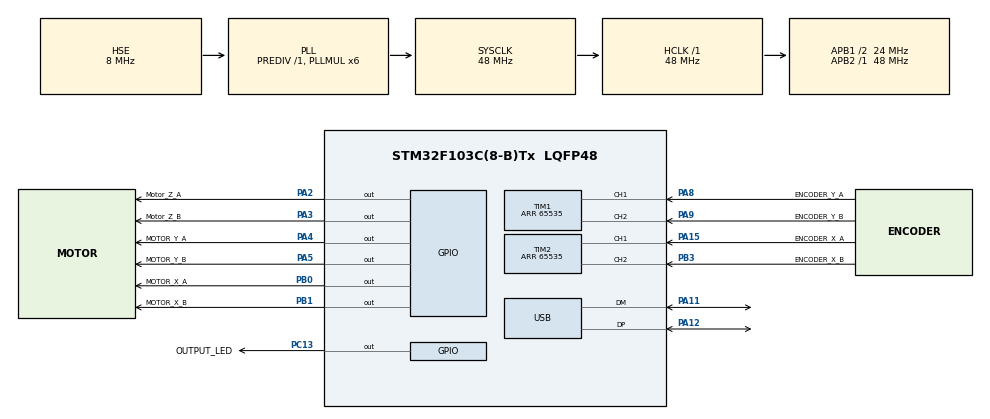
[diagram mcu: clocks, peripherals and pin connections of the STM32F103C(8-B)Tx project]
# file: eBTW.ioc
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Mcu.Family=STM32F1
Mcu.Name=STM32F103C(8-B)Tx
Mcu.Package=LQFP48
NVIC.PriorityGroup=NVIC_PRIORITYGROUP_4
NVIC.USB_LP_CAN1_RX0_IRQn=true\:0\:0\:false\:false\:true\:false\:true
PA11.Mode=Device
PA11.Signal=USB_DM
PA12.Mode=Device
PA12.Signal=USB_DP
PA13.Mode=Serial_Wire
PA13.Signal=SYS_JTMS-SWDIO
PA14.Mode=Serial_Wire
PA14.Signal=SYS_JTCK-SWCLK
PA15.GPIO_Label=ENCODER_X_A
PA15.Signal=S_TIM2_CH1_ETR
PA2.GPIO_Label=Motor_Z_A
PA2.Signal=GPIO_Output
PA3.GPIO_Label=Motor_Z_B
PA3.Signal=GPIO_Output
PA4.GPIO_Label=MOTOR_Y_A
PA4.Signal=GPIO_Output
PA5.GPIO_Label=MOTOR_Y_B
PA5.Signal=GPIO_Output
PA8.GPIO_Label=ENCODER_Y_A
PA8.Signal=S_TIM1_CH1
PA9.GPIO_Label=ENCODER_Y_B
PA9.Signal=S_TIM1_CH2
PB0.GPIO_Label=MOTOR_X_A
PB0.Signal=GPIO_Output
PB1.GPIO_Label=MOTOR_X_B
PB1.Signal=GPIO_Output
PB3.GPIO_Label=ENCODER_X_B
PB3.Signal=S_TIM2_CH2
PC13-TAMPER-RTC.GPIO_Label=OUTPUT_LED
PC13-TAMPER-RTC.Signal=GPIO_Output
PD0-OSC_IN.Mode=HSE-External-Oscillator
PD0-OSC_IN.Signal=RCC_OSC_IN
PD1-OSC_OUT.Mode=HSE-External-Oscillator
PD1-OSC_OUT.Signal=RCC_OSC_OUT
ProjectManager.HeapSize=0x200
ProjectManager.StackSize=0x400
ProjectManager.TargetToolchain=STM32CubeIDE
RCC.AHBFreq_Value=48000000
RCC.APB1CLKDivider=RCC_HCLK_DIV2
RCC.APB1Freq_Value=24000000
RCC.APB1TimFreq_Value=48000000
RCC.APB2Freq_Value=48000000
RCC.APB2TimFreq_Value=48000000
RCC.HCLKFreq_Value=48000000
RCC.PLLMUL=RCC_PLL_MUL6
RCC.SYSCLKFreq_VALUE=48000000
RCC.SYSCLKSource=RCC_SYSCLKSOURCE_PLLCLK
RCC.USBFreq_Value=48000000
SH.S_TIM1_CH1.0=TIM1_CH1,Encoder_Interface
SH.S_TIM1_CH2.0=TIM1_CH2,Encoder_Interface
SH.S_TIM2_CH1_ETR.0=TIM2_CH1,Encoder_Interface
SH.S_TIM2_CH2.0=TIM2_CH2,Encoder_Interface
TIM1.Period=65535
TIM2.Period=65535
USB_DEVICE.CLASS_NAME_FS=CDC
USB_DEVICE.VirtualMode=Cdc
USB_DEVICE.VirtualModeFS=Cdc_FS
VP_USB_DEVICE_VS_USB_DEVICE_CDC_FS.Mode=CDC_FS
board=custom

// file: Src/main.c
/* USER CODE BEGIN Header */
/**
  ******************************************************************************
  * @file           : main.c
  * @brief          : Main program body
  ******************************************************************************
  * @attention
  *
  * <h2><center>&copy; Copyright (c) 2019 STMicroelectronics.
  * All rights reserved.</center></h2>
  *
  * This software component is licensed by ST under BSD 3-Clause license,
  * the "License"; You may not use this file except in compliance with the
  * License. You may obtain a copy of the License at:
  *                        opensource.org/licenses/BSD-3-Clause
  *
  ******************************************************************************
  */
/* USER CODE END Header */

#include "main.h"
#include "tim.h"
#include "usb_device.h"
#include "gpio.h"

/* USER CODE BEGIN Includes */
#include "brailleMatrix.h"
#include "DCMotors.h"
#include "stm32f1xx_it.h"
/* USER CODE END Includes */

/* USER CODE BEGIN PV */
#define MAX_CARACTERES 30
#define MAX_LINHAS 27
#define POS_INI 28000
#define POS_FIM 4000

char pressedEnter = 1;
char isEnd = 0;

MotorControl_t motorX;
MotorControl_t motorY;

MotorControl_Simple_t motorZ;

unsigned char buffer_char[MAX_CARACTERES];
unsigned char buffer_braille[4];
/* USER CODE END PV */

void SystemClock_Config(void);

int main(void)
{

  /* MCU Configuration--------------------------------------------------------*/

  /* Reset of all peripherals, Initializes the Flash interface and the Systick. */
  HAL_Init();

  /* Configure the system clock */
  SystemClock_Config();

  /* Initialize all configured peripherals */
  MX_GPIO_Init();
  MX_TIM2_Init();
  MX_TIM1_Init();
  MX_USB_DEVICE_Init();
  /* USER CODE BEGIN 2 */
  HAL_TIM_Encoder_Start(&htim1, TIM_CHANNEL_ALL);
  HAL_TIM_Encoder_Start(&htim2, TIM_CHANNEL_ALL);

  motorBegin(&motorX, &htim2, MOTOR_X_A_GPIO_Port, MOTOR_X_A_Pin, MOTOR_X_B_GPIO_Port, MOTOR_X_B_Pin);
  motorBegin(&motorY, &htim1, MOTOR_Y_A_GPIO_Port, MOTOR_Y_A_Pin, MOTOR_Y_B_GPIO_Port, MOTOR_Y_B_Pin);

  motorSimpleBegin(&motorZ, Motor_Z_A_GPIO_Port, Motor_Z_A_Pin, Motor_Z_B_GPIO_Port, Motor_Z_B_Pin);
  /* USER CODE END 2 */

  /* Infinite loop */
  while (1)
  {

    /* USER CODE BEGIN 3 */
	  //Faz a leitura do teclado e envia ao buffer_char
	  		while(1){
	  			if(keyboardAvailable(&keyboard)){
	  				HAL_GPIO_WritePin(OUTPUT_LED_GPIO_Port, OUTPUT_LED_Pin, GPIO_PIN_SET);
	  				HAL_Delay(100);
	  				HAL_GPIO_WritePin(OUTPUT_LED_GPIO_Port, OUTPUT_LED_Pin, GPIO_PIN_RESET);
	  				uint8_t c = keyboardRead(&keyboard);
	  				if(c == PS2_ENTER){
	  					pressedEnter = 1;
	  					HAL_GPIO_WritePin(OUTPUT_LED_GPIO_Port, OUTPUT_LED_Pin, GPIO_PIN_SET);
	  					break;
	  				}else if(c == PS2_DOWNARROW){
	  					updateAxis(&motorY, motorY.setPoint - 17);
	  				}else if(c == PS2_UPARROW){
	  					updateAxis(&motorY, motorY.setPoint + 17);
	  				}else if(c == PS2_LEFTARROW){
	  					updateAxis(&motorX, motorX.setPoint + 17);
	  				}else if(c == PS2_RIGHTARROW){
	  					updateAxis(&motorX, motorX.setPoint - 17);
	  				}else if(c == PS2_BACKSPACE){
	  					clearBuffer(buffer_char);
	  				}else{

	  					feedBuffer(buffer_char, MAX_CARACTERES, c);
	  				}
	  				keyboardClear(&keyboard);
	  			}
	  		}
	  		//Programa leitura do teclado
	  		if(pressedEnter){
	  			//reverse(buffer_char);
	  			uint32_t length = strlen((const char*)buffer_char);

	  			for(int j=0;j<3;j++){

	  				//Imprime as linhas em braille
	  				if(j==1){
	  					//Linhas das matrizes
	  					for(int8_t i=length-1; i>=0; --i){

	  						// Recebe os pontos da linha para o caractere atual
	  						fillLineWithBraille(buffer_braille, j,buffer_char[i]);

	  						// Percorre os 4 bits, no máximo, para cada caractere
	  						for(int8_t x = 0; x < 2; ++x){

	  							// Passa para a próxima iteração se não tem ponto para furar
	  							if(buffer_braille[x] == '1'){
	  								pierce(&motorZ, PIERCE_TIME);
	  							}

	  							if(x != 1){
	  								updateAxis(&motorX, motorX.setPoint - DELTA_COL_LIN);
	  							}

	  							// Incrementa posição do eixo x, espaçamento entre colunas

	  						}

	  						// Incrementa posição do eixo x, espaçamento entre char na horizontal
	  						if(i != 0){
	  							updateAxis(&motorX, motorX.setPoint - DELTA_CHAR_H);
	  						}

	  					}

	  					// Decrementa posição do eixo y, espaçamento entre linhas
	  					updateAxis(&motorY, motorY.setPoint - DELTA_COL_LIN);
	  					//updateAxis_Simple(&motorY, NEXT_LINE, UP);
	  				}else{

	  					//Linhas das matrizes
	  					for(int8_t i=0; i<length; i++){

	  						//Recebe os pontos da linha para o caractere atual
	  						fillLineWithBraille(buffer_braille, j,buffer_char[i]);

	  						//Percorre os 4 bits, no máximo, para cada caractere
	  						for(int8_t x = 1; x >= 0; --x){

	  							if(buffer_braille[x] == '1'){
	  								pierce(&motorZ, PIERCE_TIME);
	  							}

	  							// Incrementa posição do eixo x, espaçamento entre colunas
	  							if(x != 0){
	  								updateAxis(&motorX, motorX.setPoint + DELTA_COL_LIN);
	  							}

	  						}

	  						// Incrementa posição do eixo x, espaçamento entre char na horizontal
	  						if(i != (length -1)){
	  							updateAxis(&motorX, motorX.setPoint + DELTA_CHAR_H);
	  						}

	  					}

	  					// Incrementa posição do eixo y, espaçamento entre linhas
	  					updateAxis(&motorY, motorY.setPoint + DELTA_COL_LIN);
	  					//updateAxis_Simple(&motorY, NEXT_LINE, UP);
	  				}
	  			}

	  			//Incrementa posição do eixo y, espaçamento entre char na vertical
	  			updateAxis(&motorY, motorY.setPoint + DELTA_CHAR_V - DELTA_COL_LIN);
	  			//updateAxis_Simple(&motorY, NEXT_CHAR, UP);
	  			// Seta posição eixo x para inicial
	  			updateAxis(&motorX, POS_INI);

	  			pressedEnter = 0;
	  		}
	  		HAL_GPIO_WritePin(OUTPUT_LED_GPIO_Port, OUTPUT_LED_Pin, GPIO_PIN_RESET);
	  		keyboardClear(&keyboard);
	  		clearBuffer(buffer_char);

  }
  /* USER CODE END 3 */
}

void SystemClock_Config(void)
{
  RCC_OscInitTypeDef RCC_OscInitStruct = {0};
  RCC_ClkInitTypeDef RCC_ClkInitStruct = {0};
  RCC_PeriphCLKInitTypeDef PeriphClkInit = {0};

  /** Initializes the CPU, AHB and APB busses clocks
  */
  RCC_OscInitStruct.OscillatorType = RCC_OSCILLATORTYPE_HSE;
  RCC_OscInitStruct.HSEState = RCC_HSE_ON;
  RCC_OscInitStruct.HSEPredivValue = RCC_HSE_PREDIV_DIV1;
  RCC_OscInitStruct.HSIState = RCC_HSI_ON;
  RCC_OscInitStruct.PLL.PLLState = RCC_PLL_ON;
  RCC_OscInitStruct.PLL.PLLSource = RCC_PLLSOURCE_HSE;
  RCC_OscInitStruct.PLL.PLLMUL = RCC_PLL_MUL6;
  if (HAL_RCC_OscConfig(&RCC_OscInitStruct) != HAL_OK)
  {
    Error_Handler();
  }
  /** Initializes the CPU, AHB and APB busses clocks
  */
  RCC_ClkInitStruct.ClockType = RCC_CLOCKTYPE_HCLK|RCC_CLOCKTYPE_SYSCLK
                              |RCC_CLOCKTYPE_PCLK1|RCC_CLOCKTYPE_PCLK2;
  RCC_ClkInitStruct.SYSCLKSource = RCC_SYSCLKSOURCE_PLLCLK;
  RCC_ClkInitStruct.AHBCLKDivider = RCC_SYSCLK_DIV1;
  RCC_ClkInitStruct.APB1CLKDivider = RCC_HCLK_DIV2;
  RCC_ClkInitStruct.APB2CLKDivider = RCC_HCLK_DIV1;

  if (HAL_RCC_ClockConfig(&RCC_ClkInitStruct, FLASH_LATENCY_1) != HAL_OK)
  {
    Error_Handler();
  }
  PeriphClkInit.PeriphClockSelection = RCC_PERIPHCLK_USB;
  PeriphClkInit.UsbClockSelection = RCC_USBCLKSOURCE_PLL;
  if (HAL_RCCEx_PeriphCLKConfig(&PeriphClkInit) != HAL_OK)
  {
    Error_Handler();
  }
}

void Error_Handler(void)
{
}

/************************ (C) COPYRIGHT STMicroelectronics *****END OF FILE****/
